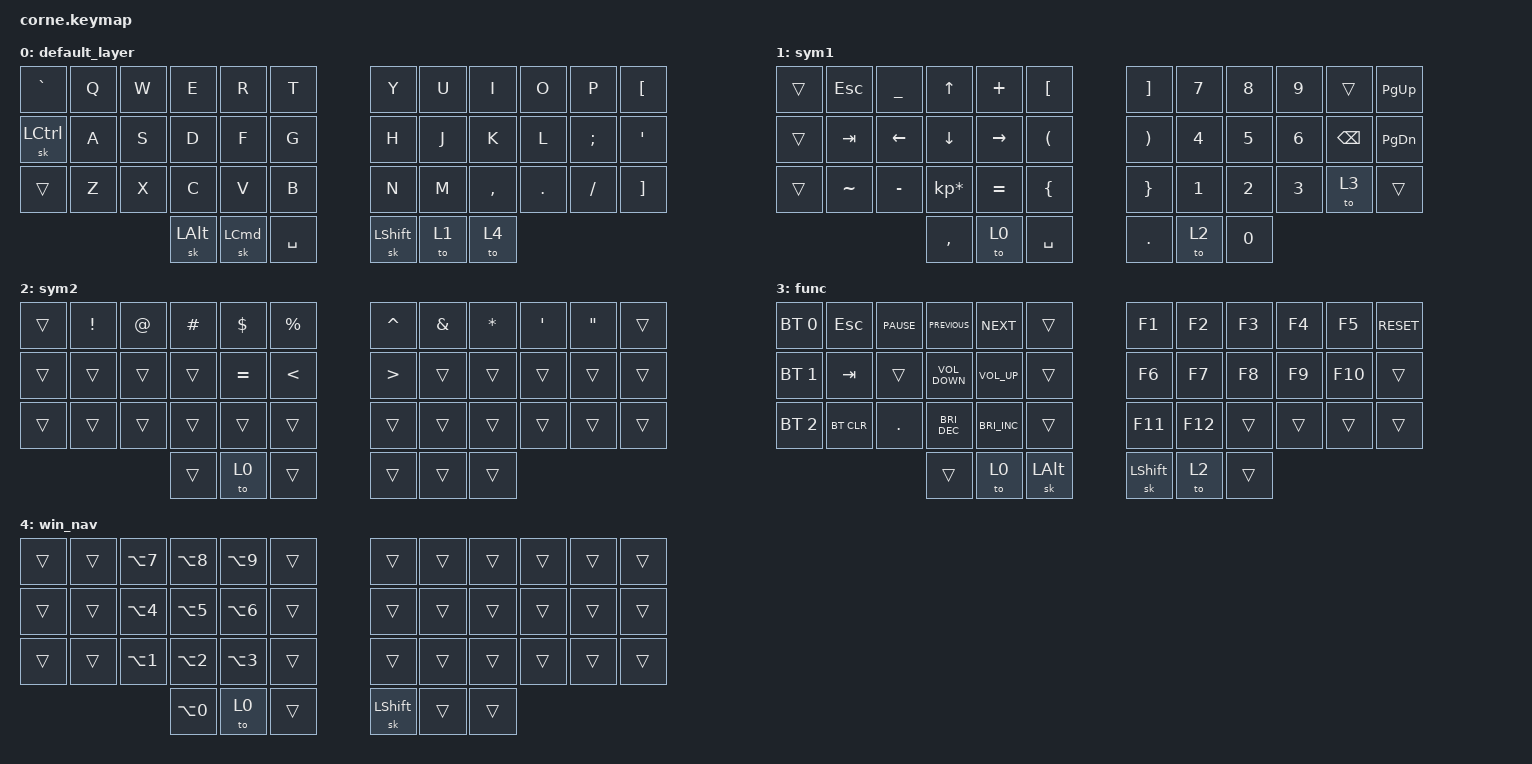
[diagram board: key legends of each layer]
/*
 * Copyright (c) 2020 The ZMK Contributors
 *
 * SPDX-License-Identifier: MIT
 */

#include <behaviors.dtsi>
#include <dt-bindings/zmk/bt.h>
#include <dt-bindings/zmk/keys.h>

/ {
    combos {
        compatible = "zmk,combos";

        enter {
            bindings = <&kp ENTER>;
            key-positions = <33 32>;
        };

        esc {
            bindings = <&kp ESCAPE>;
            key-positions = <2 3>;
        };

        tab {
            bindings = <&kp TAB>;
            key-positions = <26 27>;
        };

        back {
            bindings = <&kp BACKSPACE>;
            key-positions = <9 8>;
        };

        delete {
            bindings = <&kp DELETE>;
            key-positions = <9 10>;
        };
    };

    keymap {
        compatible = "zmk,keymap";

        default_layer {
            bindings = <
&kp GRAVE         &kp Q  &kp W  &kp E         &kp R     &kp T        &kp Y           &kp U  &kp I      &kp O    &kp P     &kp LBKT
&sk LEFT_CONTROL  &kp A  &kp S  &kp D         &kp F     &kp G        &kp H           &kp J  &kp K      &kp L    &kp SEMI  &kp SQT
&trans            &kp Z  &kp X  &kp C         &kp V     &kp B        &kp N           &kp M  &kp COMMA  &kp DOT  &kp FSLH  &kp RBKT
                                &sk LEFT_ALT  &sk LCMD  &kp SPACE    &sk LEFT_SHIFT  &to 1  &to 4
            >;
        };

        sym1 {
            bindings = <
&trans  &kp ESCAPE  &kp UNDERSCORE  &kp UP           &kp PLUS   &kp LBKT                &kp RBKT               &kp N7  &kp N8  &kp N9  &trans         &kp PAGE_UP
&trans  &kp TAB     &kp LEFT        &kp DOWN         &kp RIGHT  &kp LEFT_PARENTHESIS    &kp RIGHT_PARENTHESIS  &kp N4  &kp N5  &kp N6  &kp BACKSPACE  &kp PAGE_DOWN
&trans  &kp TILDE   &kp MINUS       &kp KP_MULTIPLY  &kp EQUAL  &kp LEFT_BRACE          &kp RIGHT_BRACE        &kp N1  &kp N2  &kp N3  &to 3          &trans
                                    &kp COMMA        &to 0      &kp SPACE               &kp DOT                &to 2   &kp N0
            >;
        };

        sym2 {
            bindings = <
&trans  &kp EXCL  &kp AT  &kp HASH  &kp DOLLAR  &kp PRCNT        &kp CARET         &kp AMPS  &kp ASTRK  &kp APOSTROPHE  &kp DOUBLE_QUOTES  &trans
&trans  &trans    &trans  &trans    &kp EQUAL   &kp LESS_THAN    &kp GREATER_THAN  &trans    &trans     &trans          &trans             &trans
&trans  &trans    &trans  &trans    &trans      &trans           &trans            &trans    &trans     &trans          &trans             &trans
                          &trans    &to 0       &trans           &trans            &trans    &trans
            >;
        };

        func {
            bindings = <
&bt BT_SEL 0  &kp ESC     &kp C_PAUSE  &kp C_PREVIOUS        &kp C_NEXT            &trans          &kp F1          &kp F2   &kp F3  &kp F4  &kp F5   &kp C_RESET
&bt BT_SEL 1  &kp TAB     &trans       &kp C_VOLUME_DOWN     &kp C_VOLUME_UP       &trans          &kp F6          &kp F7   &kp F8  &kp F9  &kp F10  &trans
&bt BT_SEL 2  &bt BT_CLR  &kp PERIOD   &kp C_BRIGHTNESS_DEC  &kp C_BRIGHTNESS_INC  &trans          &kp F11         &kp F12  &trans  &trans  &trans   &trans
                                       &trans                &to 0                 &sk LEFT_ALT    &sk LEFT_SHIFT  &to 2    &trans
            >;
        };

        win_nav {
            bindings = <
&trans  &trans  &kp LA(NUMBER_7)  &kp LA(NUMBER_8)  &kp LA(NUMBER_9)  &trans    &trans          &trans  &trans  &trans  &trans  &trans
&trans  &trans  &kp LA(NUMBER_4)  &kp LA(NUMBER_5)  &kp LA(NUMBER_6)  &trans    &trans          &trans  &trans  &trans  &trans  &trans
&trans  &trans  &kp LA(NUMBER_1)  &kp LA(NUMBER_2)  &kp LA(NUMBER_3)  &trans    &trans          &trans  &trans  &trans  &trans  &trans
                                  &kp LA(N0)        &to 0             &trans    &sk LEFT_SHIFT  &trans  &trans
            >;
        };
    };
};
